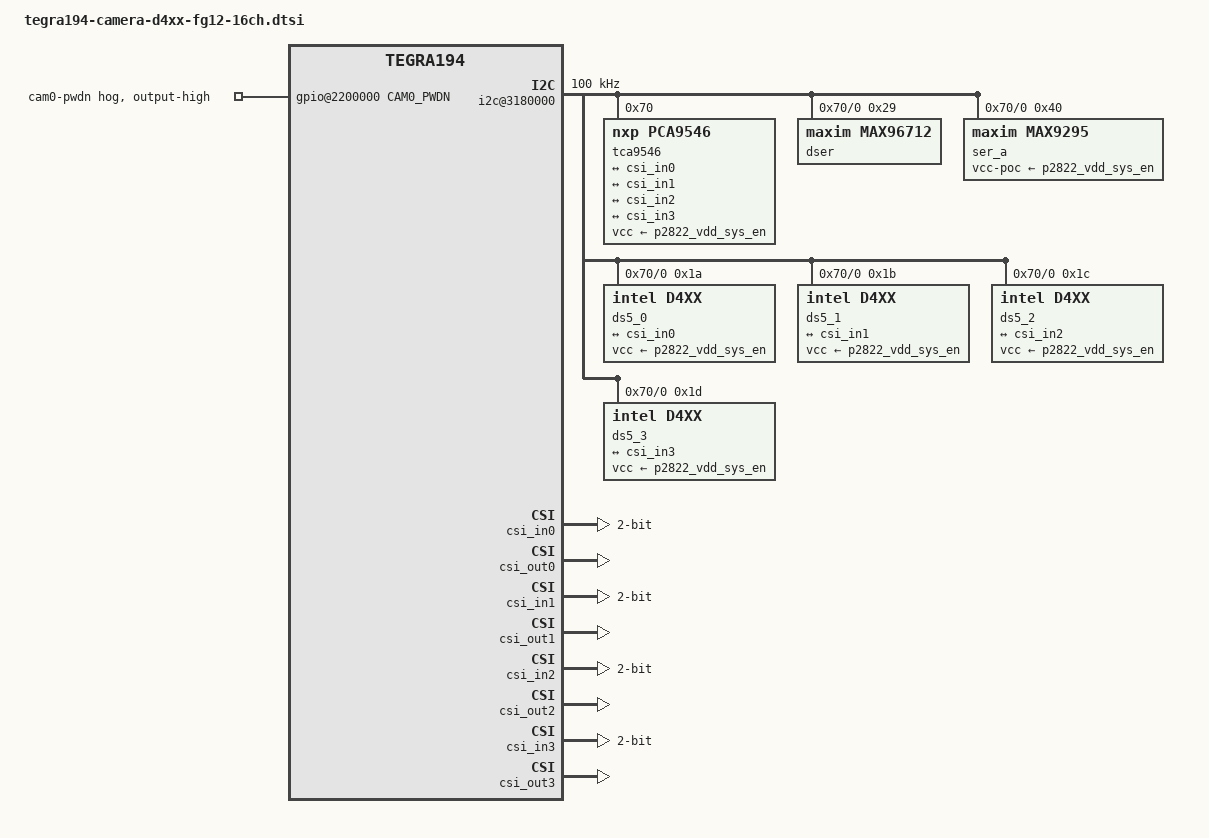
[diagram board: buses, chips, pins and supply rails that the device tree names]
#include "dt-bindings/clock/tegra194-clock.h"

#define CAMERA_I2C_MUX_BUS(x) (0x1E + x)

#define CAM0_PWDN TEGRA194_MAIN_GPIO(H, 6)
#define CAM1_PWDN TEGRA194_MAIN_GPIO(H, 3)
#define CAM2_PWDN TEGRA194_MAIN_GPIO(T, 5)
#define CAM3_PWDN TEGRA194_MAIN_GPIO(T, 6)

/ {
	tegra-capture-vi {
		num-channels = <4>;

		ports {
			#address-cells = <0x1>;
			#size-cells = <0x0>;

			port@0 {
				reg = <0>;
				status = "ok";

				vi_in0: endpoint {
					status = "ok";
					port-index = <0>;
					bus-width = <2>;
					vc-id = <0>;
					remote-endpoint = <&csi_out0>;
				};
			};
			port@1 {
				reg = <1>;
				status = "ok";

				vi_in1: endpoint {
					status = "ok";
					vc-id = <1>;
					port-index = <0>;
					bus-width = <2>;
					remote-endpoint = <&csi_out1>;
				};
			};
			port@2 {
				reg = <2>;
				status = "ok";

				vi_in2: endpoint {
					status = "ok";
					port-index = <0>;
					bus-width = <2>;
					vc-id = <2>;
					remote-endpoint = <&csi_out2>;
				};
			};
			port@3 {
				reg = <3>;
				status = "ok";

				vi_in3: endpoint {
					status = "ok";
					port-index = <0>;
					bus-width = <2>;
					vc-id = <3>;
					remote-endpoint = <&csi_out3>;
				};
			};
		};
	};

	gpio@2200000 {
		cam0-pwdn {
			gpio-hog;
			output-high;
			status = "okay";
			gpios = <CAM0_PWDN GPIO_ACTIVE_HIGH>;
			label = "cam0-pwdn";
		};
	};

	i2c@3180000 {
		status = "ok";
		clock-frequency = <100000>;
		tca9546@70 {
			status = "ok";
			reg = <0x70>;
			compatible = "nxp,pca9546";
			#address-cells = <1>;
			#size-cells = <0>;
			skip_mux_detect = "yes";
			vcc-supply = <&p2822_vdd_sys_en>;
			/*vcc-pullup-supply = <&battery_reg>;*/
			force_bus_start = <CAMERA_I2C_MUX_BUS(0)>;
			vcc_lp = "vcc";
			i2c@0 {
				reg = <0x0>;
				#address-cells = <0x1>;
				i2c-mux,deselect-on-exit;
				#size-cells = <0x0>;

				dser: max96712@29 {
					status = "ok";
					reg = <0x29>;
					compatible = "maxim,max96712";
					csi-mode = "2x4";
					max-src = <1>;
					channel = "a";
				};

				ser_a: max9295_a@40 {
					compatible = "maxim,max9295";
					reg = <0x40>;
					vcc-poc-supply = <&p2822_vdd_sys_en>;
					maxim,gmsl-dser-device = <&dser>;
				};

				ds5_0: ds5@1a {
					status = "ok";
					def-addr = <0x10>;
					reg = <0x1a>;
					compatible = "intel,d4xx";
					vcc-supply = <&p2822_vdd_sys_en>;
					cam-type = "Depth";
					maxim,gmsl-ser-device = <&ser_a>;
					maxim,gmsl-dser-device = <&dser>;
					ports {
						#address-cells = <1>;
						#size-cells = <0>;

						port@0 {
							reg = <0>;
							ds5_0_out: endpoint {
								port-index = <0>;
								bus-width = <2>;
								remote-endpoint = <&csi_in0>;
								vc-id = <0>;
							};
						};
					};
					mode0 {
						pixel_t = "grey_y16";
						num_lanes = "2";
						csi_pixel_bit_depth = "16";
						active_w = "128";
						active_h = "0";
						tegra_sinterface = "serial_a";
						mclk_khz = "24000";
						pix_clk_hz = "74250000";
						line_length = "1280"; /* 2200 */
						embedded_metadata_height = "1";
					};
					gmsl-link {
						src-csi-port = "b";
						dst-csi-port = "a";
						serdes-csi-link = "a";
						csi-mode = "1x4";
						st-vc = <0>;
						vc-id = <0>;
						num-lanes = <2>;
					};
				};

				ds5_1: ds5@1b {
					status = "ok";
					def-addr = <0x10>;
					reg = <0x1b>;
					override_reg = <0x1a>;
					compatible = "intel,d4xx";
					vcc-supply = <&p2822_vdd_sys_en>;
					cam-type = "RGB";
					maxim,gmsl-ser-device = <&ser_a>;
					maxim,gmsl-dser-device = <&dser>;
					ports {
						#address-cells = <1>;
						#size-cells = <0>;

						port@0 {
							reg = <0>;
							ds5_1_out: endpoint {
								port-index = <1>;
								bus-width = <2>;
								remote-endpoint = <&csi_in1>;
								vc-id = <1>;
							};
						};
					};
					mode0 {
						pixel_t = "grey_y16";
						num_lanes = "2";
						csi_pixel_bit_depth = "16";
						active_w = "128";
						active_h = "0";
						tegra_sinterface = "serial_e";
						mclk_khz = "24000";
						pix_clk_hz = "74250000";
						line_length = "1280"; /* 2200 */
						embedded_metadata_height = "1";
					};
					gmsl-link {
						src-csi-port = "b";
						dst-csi-port = "a";
						serdes-csi-link = "a";
						csi-mode = "1x4";
						st-vc = <0>;
						vc-id = <1>;
						num-lanes = <2>;
					};
				};

				ds5_2: ds5@1c {
					status = "ok";
					def-addr = <0x10>;
					reg = <0x1c>;
					override_reg = <0x1a>;
					compatible = "intel,d4xx";
					vcc-supply = <&p2822_vdd_sys_en>;
							cam-type = "Y8";
					maxim,gmsl-ser-device = <&ser_a>;
					maxim,gmsl-dser-device = <&dser>;
					ports {
						#address-cells = <1>;
						#size-cells = <0>;

						port@0 {
							reg = <0>;
							ds5_2_out: endpoint {
								port-index = <2>;
								bus-width = <2>;
								remote-endpoint = <&csi_in2>;
								vc-id = <2>;
							};
						};
					};
					/* mode0: Y8, mode1: depth D16 */
					mode0 {
						pixel_t = "grey_y16";
						num_lanes = "2";
						csi_pixel_bit_depth = "16";
						active_w = "128";
						active_h = "0";
						tegra_sinterface = "serial_b";
						mclk_khz = "24000";
						pix_clk_hz = "74250000";
						line_length = "1280"; /* 2200 */
						embedded_metadata_height = "1";
					};
					gmsl-link {
						src-csi-port = "b";
						dst-csi-port = "a";
						serdes-csi-link = "a";
						csi-mode = "1x4";
						st-vc = <0>;
						vc-id = <2>;
						num-lanes = <2>;
					};
				};

				ds5_3: ds5@1d {
					status = "ok";
					def-addr = <0x10>;
					reg = <0x1d>;
					override_reg = <0x1a>;
					compatible = "intel,d4xx";
					vcc-supply = <&p2822_vdd_sys_en>;
							cam-type = "IMU";
					maxim,gmsl-ser-device = <&ser_a>;
					maxim,gmsl-dser-device = <&dser>;
					ports {
						#address-cells = <1>;
						#size-cells = <0>;

						port@0 {
							reg = <0>;
							ds5_3_out: endpoint {
								port-index = <3>;
								bus-width = <2>;
								remote-endpoint = <&csi_in3>;
								vc-id = <3>;
							};
						};
					};
					mode0 {
						pixel_t = "grey_y16";
						num_lanes = "2";
						csi_pixel_bit_depth = "16";
						active_w = "128";
						active_h = "0";
						tegra_sinterface = "serial_b";
						mclk_khz = "24000";
						pix_clk_hz = "74250000";
						line_length = "1280"; /* 2200 */
						embedded_metadata_height = "0";
					};
					gmsl-link {
						src-csi-port = "b";
						dst-csi-port = "a";
						serdes-csi-link = "a";
						csi-mode = "1x4";
						st-vc = <0>;
						vc-id = <3>;
						num-lanes = <2>;
					};
				};
			};
		};
	};

	host1x@13e00000 {
		nvcsi@15a00000 {
			#address-cells = <0x1>;
			#size-cells = <0x0>;

			num-channels = <4>;

			channel@0 {
				reg = <0x0>;
				status = "ok";

				ports {
					#address-cells = <0x1>;
					#size-cells = <0x0>;

					port@0 {
						reg = <0>;
						status = "ok";

						csi_in0: endpoint@0 {
							status = "ok";
							port-index = <0>;
							bus-width = <2>;
							remote-endpoint = <&ds5_0_out>;
						};
					};
					port@1 {
						reg = <1>;
						status = "ok";
						csi_out0: endpoint@1 {
							status = "ok";
							remote-endpoint = <&vi_in0>;
						};
					};

				};
			};
			channel@1 {
				reg = <0x1>;
				status = "ok";

				ports {
					#address-cells = <0x1>;
					#size-cells = <0x0>;

					port@0 {
						reg = <0>;
						status = "ok";

						csi_in1: endpoint@2 {
							status = "ok";
							port-index = <0>;
							bus-width = <2>;
							remote-endpoint = <&ds5_1_out>;
						};
					};
					port@1 {
						reg = <1>;
						status = "ok";
						csi_out1: endpoint@3 {
							status = "ok";
							remote-endpoint = <&vi_in1>;
						};
					};

				};
			};
			channel@2 {
				reg = <0x2>;
				status = "ok";

				ports {
					#address-cells = <0x1>;
					#size-cells = <0x0>;

					port@0 {
						reg = <0>;
						status = "ok";

						csi_in2: endpoint@4 {
							status = "ok";
							port-index = <0>;
							bus-width = <2>;
							remote-endpoint = <&ds5_2_out>;
						};
					};
					port@1 {
						reg = <1>;
						status = "ok";
						csi_out2: endpoint@5 {
							status = "ok";
							remote-endpoint = <&vi_in2>;
						};
					};
				};
			};
			channel@3 {
				reg = <0x3>;
				status = "ok";

				ports {
					#address-cells = <0x1>;
					#size-cells = <0x0>;

					port@0 {
						reg = <0>;
						status = "ok";

						csi_in3: endpoint@6 {
							status = "ok";
							port-index = <0>;
							bus-width = <2>;
							remote-endpoint = <&ds5_3_out>;
						};
					};
					port@1 {
						reg = <1>;
						status = "ok";
						csi_out3: endpoint@7 {
							status = "ok";
							remote-endpoint = <&vi_in3>;
						};
					};
				};
			};
		};
	};
};
